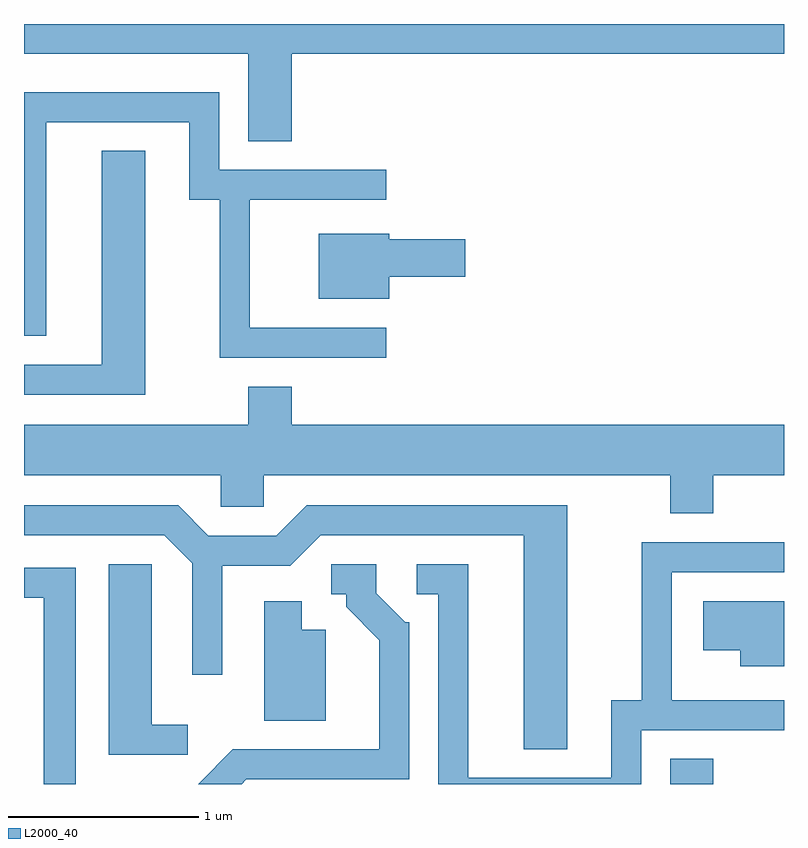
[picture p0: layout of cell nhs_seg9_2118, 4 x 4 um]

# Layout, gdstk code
import gdstk
lib = gdstk.Library(unit=1e-6, precision=1e-09)
def R(c, l, rs):  # rectangles x0, y0, x1, y1
    for r in rs: c.add(gdstk.rectangle(r[:2], r[2:], *l))
def P(c, l, *ps):  # polygons
    for p in ps: c.add(gdstk.Polygon(p, *l))
L2000_40 = (2000, 40)

nhs_seg9_2118 = lib.new_cell('nhs_seg9_2118')
R(nhs_seg9_2118, L2000_40, [(251.011,1972.432,251.239,1972.564)])
P(nhs_seg9_2118, L2000_40, [(249.019,1976.276),(251.611,1976.276),(251.611,1976.432),(247.611,1976.432),(247.611,1976.276),(248.791,1976.276),(248.791,1975.816),(249.019,1975.816)],
  [(249.518,1974.834),(248.799,1974.834),(248.799,1975.506),(249.518,1975.506),(249.518,1975.664),(248.639,1975.664),(248.639,1976.074),(247.611,1976.074),(247.611,1974.791),(247.729,1974.791),(247.729,1975.916),(248.481,1975.916),(248.481,1975.506),(248.641,1975.506),(248.641,1974.676),(249.518,1974.676)],
  [(248.249,1975.764),(248.021,1975.764),(248.021,1974.639),(247.611,1974.639),(247.611,1974.481),(248.249,1974.481)],
  [(249.534,1975.101),(249.934,1975.101),(249.934,1975.299),(249.534,1975.299),(249.534,1975.329),(249.161,1975.329),(249.161,1974.986),(249.534,1974.986)],
  [(251.239,1974.056),(251.611,1974.056),(251.611,1974.324),(249.019,1974.324),(249.019,1974.524),(248.791,1974.524),(248.791,1974.324),(247.611,1974.324),(247.611,1974.056),(248.646,1974.056),(248.646,1973.891),(248.874,1973.891),(248.874,1974.056),(251.011,1974.056),(251.011,1973.856),(251.239,1973.856)],
  [(250.469,1973.899),(249.099,1973.899),(248.939,1973.739),(248.582,1973.739),(248.422,1973.899),(247.611,1973.899),(247.611,1973.741),(248.349,1973.741),(248.496,1973.594),(248.496,1973.008),(248.654,1973.008),(248.654,1973.581),(249.012,1973.581),(249.172,1973.741),(250.241,1973.741),(250.241,1972.616),(250.469,1972.616)],
  [(250.859,1972.716),(251.611,1972.716),(251.611,1972.874),(251.019,1972.874),(251.019,1973.546),(251.611,1973.546),(251.611,1973.704),(250.861,1973.704),(250.861,1972.874),(250.701,1972.874),(250.701,1972.464),(249.949,1972.464),(249.949,1973.589),(249.678,1973.589),(249.678,1973.431),(249.791,1973.431),(249.791,1972.432),(250.859,1972.432)],
  [(248.473,1972.744),(248.284,1972.744),(248.284,1973.589),(248.056,1973.589),(248.056,1972.586),(248.473,1972.586)],
  [(248.782,1972.456),(249.639,1972.456),(249.639,1973.284),(249.617,1973.284),(249.464,1973.437),(249.464,1973.589),(249.228,1973.589),(249.228,1973.431),(249.306,1973.431),(249.306,1973.364),(249.481,1973.189),(249.481,1972.614),(248.709,1972.614),(248.527,1972.432),(248.758,1972.432)],
  [(247.884,1973.569),(247.611,1973.569),(247.611,1973.411),(247.716,1973.411),(247.716,1972.432),(247.884,1972.432)],
  [(249.199,1973.244),(249.074,1973.244),(249.074,1973.394),(248.876,1973.394),(248.876,1972.766),(249.199,1972.766)],
  [(251.611,1973.394),(251.186,1973.394),(251.186,1973.136),(251.381,1973.136),(251.381,1973.051),(251.611,1973.051)])

lib.write_gds('nhs_seg9_2118.gds')
